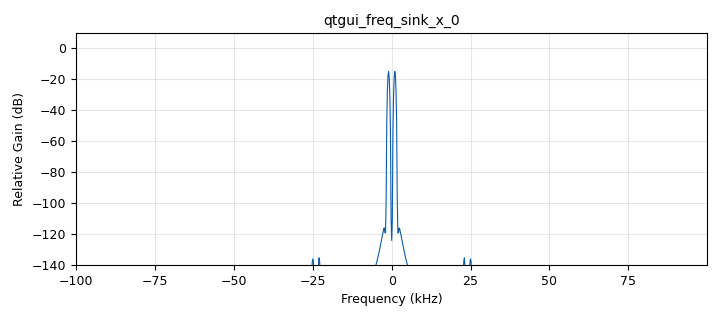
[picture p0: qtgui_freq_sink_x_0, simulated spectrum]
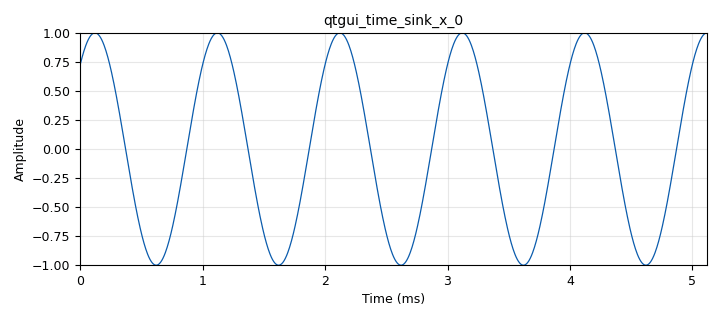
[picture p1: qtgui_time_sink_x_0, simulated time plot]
options:
  parameters:
    author: victor_rodriguez_karen_valencia_L1B_G3
    generate_options: qt_gui
    id: PruebaPotencia
    output_language: python
    title: PruebaPotencia
  states: {}

blocks:
- name: A
  id: variable_qtgui_range
  parameters:
    label: Amplitud señal
    start: '0'
    step: '0.1'
    stop: '10'
    value: '1'
  states: {}
- name: FM
  id: variable_qtgui_range
  parameters:
    label: Frecuencia BANDABASE
    start: '0'
    step: '10'
    stop: '10000'
    value: '1000'
  states: {}
- name: GTX
  id: variable_qtgui_range
  parameters:
    label: Ganancia del TX
    start: '0'
    step: '1'
    stop: '30'
    value: '0'
  states: {}
- name: fc
  id: variable_qtgui_range
  parameters:
    label: Frecuencia Portadora
    start: 50e6
    step: 1e6
    stop: 2.2e9
    value: 50e6
  states: {}
- name: samp_rate
  id: variable
  parameters:
    value: '200000'
  states: {}
- name: CalculoPotenciaComunicaciones_0
  id: CalculoPotenciaComunicaciones
  parameters:
    I_vect: '1024'
  states: {}
- name: analog_sig_source_x_0
  id: analog_sig_source_x
  parameters:
    amp: A
    freq: FM
    offset: '0'
    phase: '0'
    samp_rate: samp_rate
    type: float
    waveform: analog.GR_COS_WAVE
  states: {}
- name: blocks_float_to_complex_0
  id: blocks_float_to_complex
  parameters: {}
  states: {}
- name: qtgui_freq_sink_x_0
  id: qtgui_freq_sink_x
  parameters:
    bw: samp_rate
    fc: '0'
    fftsize: '1024'
    type: float
  states: {}
- name: qtgui_time_sink_x_0
  id: qtgui_time_sink_x
  parameters:
    size: '1024'
    srate: samp_rate
    type: float
  states: {}
- name: uhd_usrp_sink_0
  id: uhd_usrp_sink
  parameters:
    ant0: '"TX/RX"'
    center_freq0: fc
    dev_args: '""'
    gain0: GTX
    samp_rate: samp_rate
    sync: pc_clock
    type: fc32
  states: {}

connections:
- [analog_sig_source_x_0, '0', CalculoPotenciaComunicaciones_0, '0']
- [analog_sig_source_x_0, '0', blocks_float_to_complex_0, '0']
- [analog_sig_source_x_0, '0', qtgui_freq_sink_x_0, '0']
- [analog_sig_source_x_0, '0', qtgui_time_sink_x_0, '0']
- [blocks_float_to_complex_0, '0', uhd_usrp_sink_0, '0']

metadata:
  file_format: 1
  grc_version: 3.10.5.1
